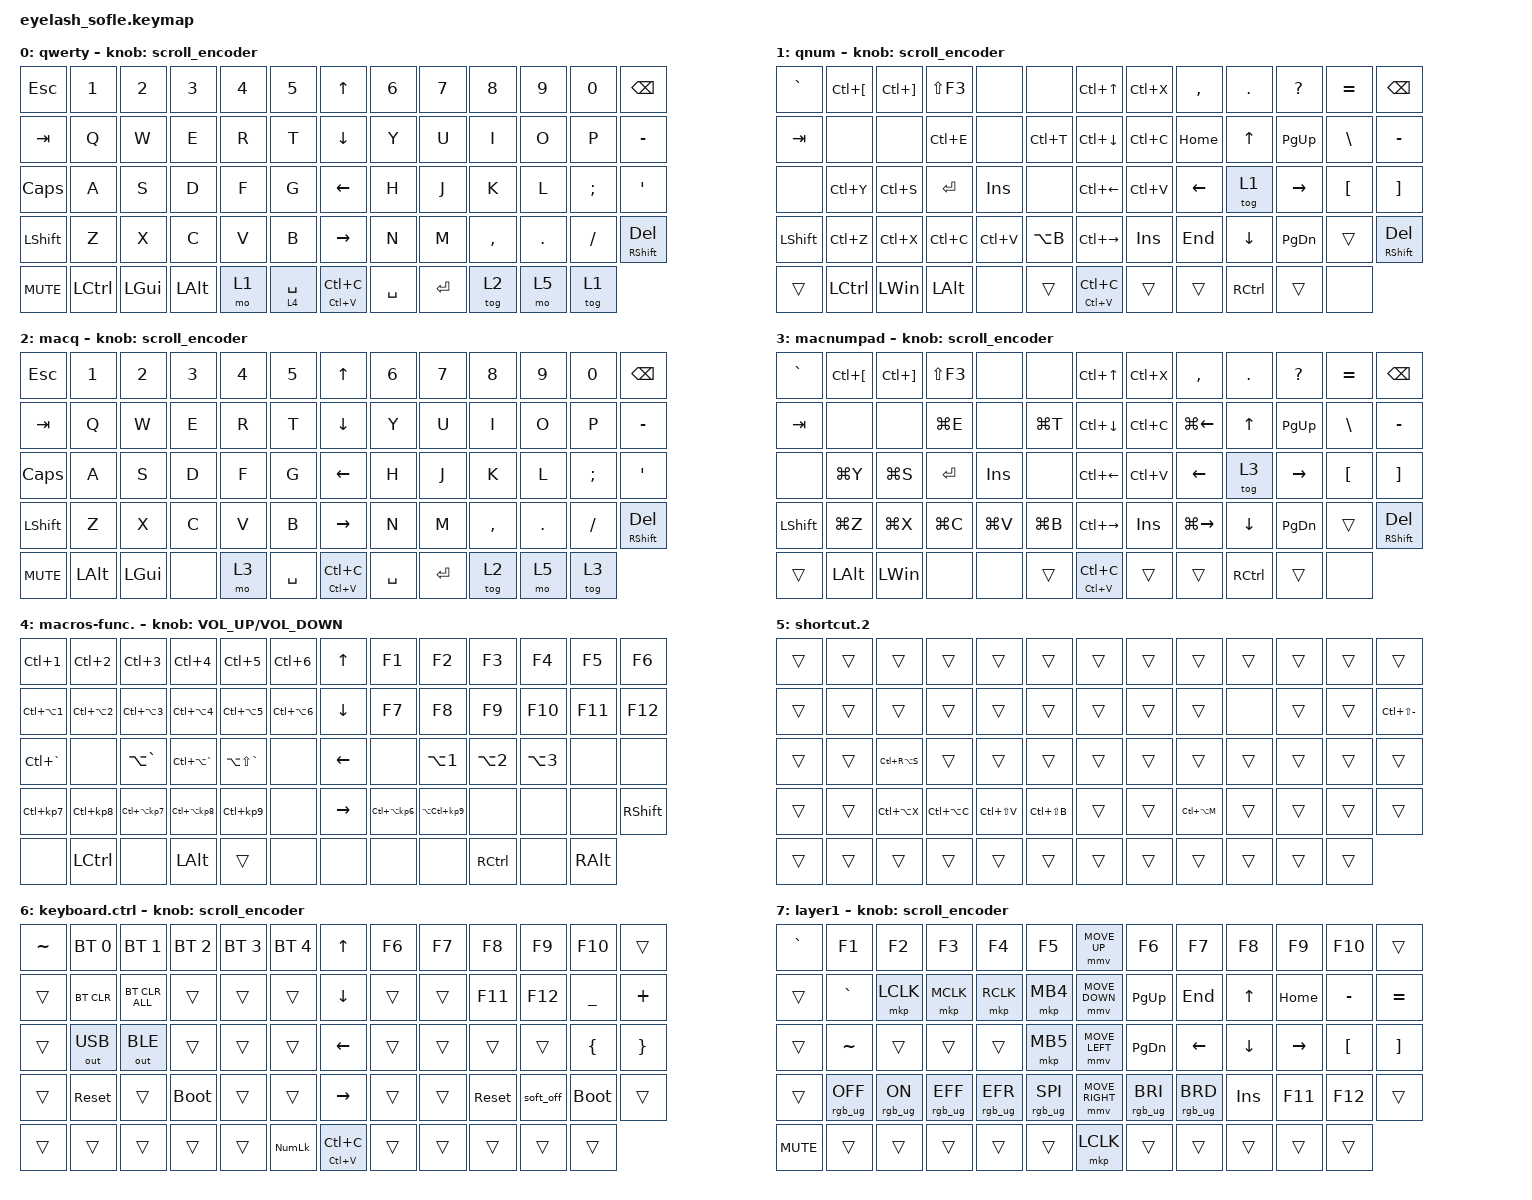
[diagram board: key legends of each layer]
#define ZMK_POINTING_DEFAULT_MOVE_VAL 1200  // 600
#define ZMK_POINTING_DEFAULT_SCRL_VAL 25   // 10

#include <input/processors.dtsi>
#include <zephyr/dt-bindings/input/input-event-codes.h>
#include <behaviors/runtime-sensor-rotate.dtsi>
#include <behaviors.dtsi>
#include <dt-bindings/zmk/bt.h>
#include <dt-bindings/zmk/keys.h>
#include <dt-bindings/zmk/outputs.h>
#include <dt-bindings/zmk/pointing.h>
#include <dt-bindings/zmk/rgb.h>

&mmv_input_listener { input-processors = <&zip_xy_scaler 2 1>; };

&msc_input_listener { input-processors = <&zip_scroll_scaler 8 1>; }; // ori: 2 1 (works pefectly with smooth scrolling=y)
&msc {
    acceleration-exponent = <0>;      // 0
    time-to-max-speed-ms = <0>;       // 300
    delay-ms = <0>;                   // ori: 0
};

&mmv {
    time-to-max-speed-ms = <500>;
    acceleration-exponent = <1>;
    trigger-period-ms = <16>;
};

&soft_off { hold-time-ms = <2000>; };

/ {
    scroll_encoder: scroll_encoder {
        compatible = "zmk,behavior-sensor-rotate";
        #sensor-binding-cells = <0>;
        bindings = <&msc SCRL_DOWN>, <&msc SCRL_UP>;

        tap-ms = <100>;
    };

    behaviors {
        rsr_vol: rsr_vol {
            compatible = "zmk,behavior-runtime-sensor-rotate";
            #sensor-binding-cells = <0>;
            tap-ms = <5>;
            cw-binding = <&kp C_VOL_UP>;
            ccw-binding = <&kp C_VOL_DN>;
        };

        rsr_trans: rsr_trans {
            compatible = "zmk,behavior-runtime-sensor-rotate";
            #sensor-binding-cells = <0>;
            tap-ms = <0>;
        };
    };

    combos {
        compatible = "zmk,combos";

        softoff {
            bindings = <&soft_off>;
            key-positions = <14 28 40>;
        };

        keyboard.ctrl {
            bindings = <&mo 6>;
            key-positions = <62 56>;
        };
    };

    macros {
        SHIFT_MCLK: SHIFT_MCLK {
            compatible = "zmk,behavior-macro";
            #binding-cells = <0>;
            bindings =
                <&macro_press>,
                <&kp LEFT_SHIFT>,
                <&macro_press>,
                <&mkp MB3>,
                <&macro_pause_for_release>,
                <&macro_release>,
                <&kp LEFT_SHIFT &mkp MB3>;

            label = "SHIFT_MCLK";
        };
    };

    keymap {
        compatible = "zmk,keymap";

        qwerty {
            bindings = <
&kp ESC     &kp N1     &kp N2        &kp N3        &kp N4  &kp N5         &kp UP_ARROW     &kp N6     &kp N7     &kp N8     &kp N9   &kp N0    &kp BACKSPACE
&kp TAB     &kp Q      &kp W         &kp E         &kp R   &kp T          &kp DOWN_ARROW   &kp Y      &kp U      &kp I      &kp O    &kp P     &kp MINUS
&kp CAPS    &kp A      &kp S         &kp D         &kp F   &kp G          &kp LEFT_ARROW   &kp H      &kp J      &kp K      &kp L    &kp SEMI  &kp APOS
&kp LSHFT   &kp Z      &kp X         &kp C         &kp V   &kp B          &kp RIGHT_ARROW  &kp N      &kp M      &kp COMMA  &kp DOT  &kp FSLH  &mt RIGHT_SHIFT DEL
&kp C_MUTE  &kp LCTRL  &kp LEFT_GUI  &kp LEFT_ALT  &mo 1   &lt 4 SPACE    &mt LC(V) LC(C)  &kp SPACE  &kp ENTER  &tog 2     &mo 5    &tog 1
            >;

            sensor-bindings = <&scroll_encoder>;
            display-name = "qwerty";
        };

        qnum {
            bindings = <
&kp GRAVE       &kp LC(LEFT_BRACKET)  &kp LC(RIGHT_BRACKET)  &kp LS(F3)    &none       &none        &kp LC(UP_ARROW)    &kp LC(X)  &kp COMMA  &kp PERIOD         &kp QUESTION   &kp EQUAL         &kp BACKSPACE
&kp TAB         &none                 &none                  &kp LC(E)     &none       &kp LC(T)    &kp LC(DOWN_ARROW)  &kp LC(C)  &kp HOME   &kp UP_ARROW       &kp PG_UP      &kp BACKSLASH     &kp MINUS
&none           &kp LC(Y)             &kp LC(S)              &kp ENTER     &kp INSERT  &none        &kp LC(LEFT_ARROW)  &kp LC(V)  &kp LEFT   &tog 1             &kp RIGHT      &kp LEFT_BRACKET  &kp RIGHT_BRACKET
&kp LEFT_SHIFT  &kp LC(Z)             &kp LC(X)              &kp LC(C)     &kp LC(V)   &kp LA(B)    &kp LC(RIGHT)       &kp INS    &kp END    &kp DOWN           &kp PAGE_DOWN  &trans            &mt RIGHT_SHIFT DELETE
&trans          &kp LEFT_CONTROL      &kp LEFT_WIN           &kp LEFT_ALT  &none       &trans       &mt LC(V) LC(C)     &trans     &trans     &kp RIGHT_CONTROL  &trans         &none
            >;

            display-name = "qnum";
            sensor-bindings = <&scroll_encoder>;
        };

        macq {
            display-name = "macq";
            bindings = <
&kp ESC     &kp N1        &kp N2        &kp N3  &kp N4  &kp N5       &kp UP_ARROW     &kp N6     &kp N7     &kp N8     &kp N9   &kp N0    &kp BACKSPACE
&kp TAB     &kp Q         &kp W         &kp E   &kp R   &kp T        &kp DOWN_ARROW   &kp Y      &kp U      &kp I      &kp O    &kp P     &kp MINUS
&kp CAPS    &kp A         &kp S         &kp D   &kp F   &kp G        &kp LEFT_ARROW   &kp H      &kp J      &kp K      &kp L    &kp SEMI  &kp APOS
&kp LSHFT   &kp Z         &kp X         &kp C   &kp V   &kp B        &kp RIGHT_ARROW  &kp N      &kp M      &kp COMMA  &kp DOT  &kp FSLH  &mt RIGHT_SHIFT DEL
&kp C_MUTE  &kp LEFT_ALT  &kp LEFT_GUI  &none   &mo 3   &kp SPACE    &mt LC(V) LC(C)  &kp SPACE  &kp ENTER  &tog 2     &mo 5    &tog 3
            >;

            sensor-bindings = <&scroll_encoder>;
        };

        macnumpad {
            display-name = "macnumpad";
            bindings = <
&kp GRAVE       &kp LC(LEFT_BRACKET)  &kp LC(RIGHT_BRACKET)  &kp LS(F3)  &none       &none        &kp LC(UP_ARROW)    &kp LC(X)  &kp COMMA      &kp PERIOD         &kp QUESTION   &kp EQUAL         &kp BACKSPACE
&kp TAB         &none                 &none                  &kp LG(E)   &none       &kp LG(T)    &kp LC(DOWN_ARROW)  &kp LC(C)  &kp LG(LEFT)   &kp UP_ARROW       &kp PG_UP      &kp BACKSLASH     &kp MINUS
&none           &kp LG(Y)             &kp LG(S)              &kp ENTER   &kp INSERT  &none        &kp LC(LEFT_ARROW)  &kp LC(V)  &kp LEFT       &tog 3             &kp RIGHT      &kp LEFT_BRACKET  &kp RIGHT_BRACKET
&kp LEFT_SHIFT  &kp LG(Z)             &kp LG(X)              &kp LG(C)   &kp LG(V)   &kp LG(B)    &kp LC(RIGHT)       &kp INS    &kp LG(RIGHT)  &kp DOWN           &kp PAGE_DOWN  &trans            &mt RIGHT_SHIFT DELETE
&trans          &kp LEFT_ALT          &kp LEFT_WIN           &none       &none       &trans       &mt LC(V) LC(C)     &trans     &trans         &kp RIGHT_CONTROL  &trans         &none
            >;

            sensor-bindings = <&scroll_encoder>;
        };

        macros-func. {
            bindings = <
&kp LC(NUMBER_1)      &kp LC(NUMBER_2)      &kp LC(NUMBER_3)      &kp LC(NUMBER_4)      &kp LC(N5)         &kp LC(NUMBER_6)        &kp UP_ARROW  &kp F1             &kp F2             &kp F3            &kp F4            &kp F5         &kp F6
&kp LC(LA(NUMBER_1))  &kp LC(LA(NUMBER_2))  &kp LC(LA(NUMBER_3))  &kp LC(LA(NUMBER_4))  &kp LC(LA(N5))     &kp LC(LA(NUMBER_6))    &kp DOWN      &kp F7             &kp F8             &kp F9            &kp F10           &kp F11        &kp F12
&kp LC(GRAVE)         &none                 &kp LA(GRAVE)         &kp LC(LA(GRAVE))     &kp LA(LS(GRAVE))  &none                   &kp LEFT      &none              &kp LA(NUMBER_1)   &kp LA(NUMBER_2)  &kp LA(NUMBER_3)  &none          &none
&kp LC(KP_N7)         &kp LC(KP_N8)         &kp LC(LA(KP_N7))     &kp LC(LA(KP_N8))     &kp LC(KP_N9)      &none                   &kp RIGHT     &kp LC(LA(KP_N6))  &kp LA(LC(KP_N9))  &none             &none             &none          &kp RSHIFT
&none                 &kp LCTRL             &none                 &kp LEFT_ALT          &trans             &none                   &none         &none              &none              &kp RCTRL         &none             &kp RIGHT_ALT
            >;

            display-name = "macros-func.";
            sensor-bindings = <&inc_dec_kp C_VOLUME_UP C_VOLUME_DOWN>;
        };

        shortcut.2 {
            bindings = <
&trans  &trans  &trans         &trans         &trans         &trans           &trans  &trans  &trans         &trans  &trans  &trans  &trans
&trans  &trans  &trans         &trans         &trans         &trans           &trans  &trans  &trans         &none   &trans  &trans  &kp LC(LS(MINUS))
&trans  &trans  &kp LC(RA(S))  &trans         &trans         &trans           &trans  &trans  &trans         &trans  &trans  &trans  &trans
&trans  &trans  &kp LC(LA(X))  &kp LC(LA(C))  &kp LC(LS(V))  &kp LC(LS(B))    &trans  &trans  &kp LC(LA(M))  &trans  &trans  &trans  &trans
&trans  &trans  &trans         &trans         &trans         &trans           &trans  &trans  &trans         &trans  &trans  &trans
            >;

            display-name = "shortcut.2";
        };

        keyboard.ctrl {
            bindings = <
&kp TILDE  &bt BT_SEL 0  &bt BT_SEL 1    &bt BT_SEL 2  &bt BT_SEL 3  &bt BT_SEL 4      &kp UP_ARROW     &kp F6  &kp F7  &kp F8      &kp F9     &kp F10      &trans
&trans     &bt BT_CLR    &bt BT_CLR_ALL  &trans        &trans        &trans            &kp DOWN         &trans  &trans  &kp F11     &kp F12    &kp UNDER    &kp PLUS
&trans     &out OUT_USB  &out OUT_BLE    &trans        &trans        &trans            &kp LEFT         &trans  &trans  &trans      &trans     &kp LBRC     &kp RBRC
&trans     &sys_reset    &trans          &bootloader   &trans        &trans            &kp RIGHT        &trans  &trans  &sys_reset  &soft_off  &bootloader  &trans
&trans     &trans        &trans          &trans        &trans        &kp KP_NUMLOCK    &mt LC(V) LC(C)  &trans  &trans  &trans      &trans     &trans
            >;

            display-name = "keyboard.ctrl";
            sensor-bindings = <&scroll_encoder>;
        };

        layer_1 {
            bindings = <
&kp GRAVE   &kp F1           &kp F2          &kp F3           &kp F4           &kp F5             &mmv MOVE_UP     &kp F6           &kp F7           &kp F8      &kp F9     &kp F10           &trans
&trans      &kp GRAVE        &mkp LCLK       &mkp MCLK        &mkp RCLK        &mkp MB4           &mmv MOVE_DOWN   &kp PG_UP        &kp END          &kp UP      &kp HOME   &kp MINUS         &kp EQUAL
&trans      &kp TILDE        &trans          &trans           &trans           &mkp MB5           &mmv MOVE_LEFT   &kp PG_DN        &kp LEFT         &kp DOWN    &kp RIGHT  &kp LEFT_BRACKET  &kp RIGHT_BRACKET
&trans      &rgb_ug RGB_OFF  &rgb_ug RGB_ON  &rgb_ug RGB_EFF  &rgb_ug RGB_EFR  &rgb_ug RGB_SPI    &mmv MOVE_RIGHT  &rgb_ug RGB_BRI  &rgb_ug RGB_BRD  &kp INSERT  &kp F11    &kp F12           &trans
&kp C_MUTE  &trans           &trans          &trans           &trans           &trans             &mkp LCLK        &trans           &trans           &trans      &trans     &trans
            >;

            display-name = "layer1";
            sensor-bindings = <&scroll_encoder>;
        };
    };

    conditional_layers { compatible = "zmk,conditional-layers"; };
};
